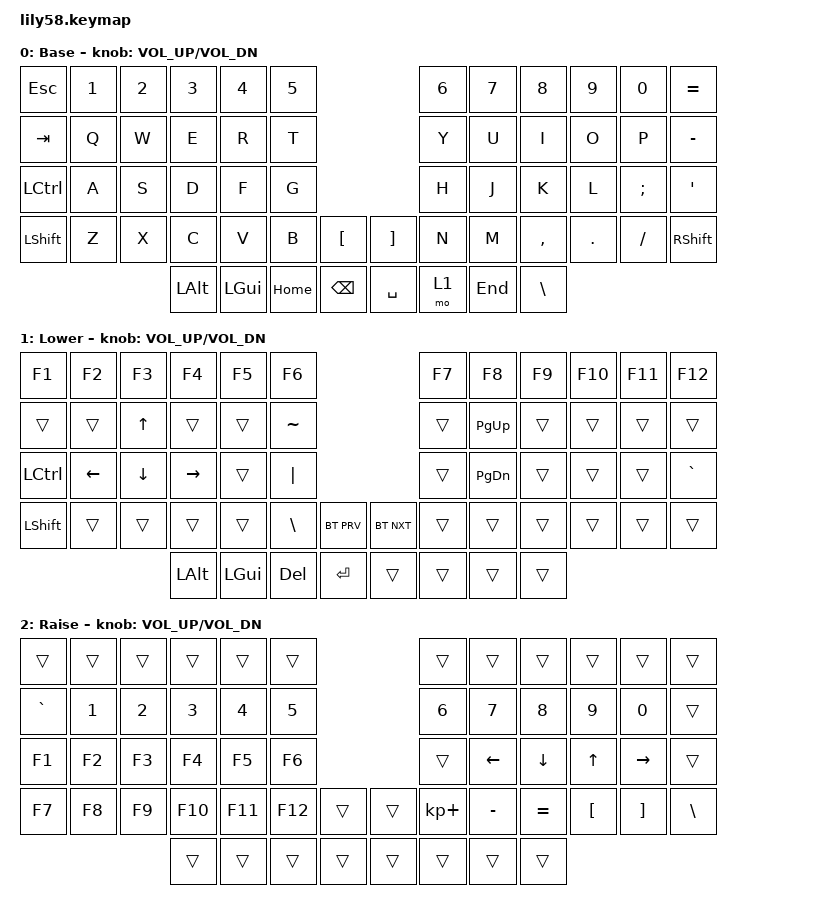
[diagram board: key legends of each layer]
/*
 * Copyright (c) 2020 The ZMK Contributors
 *
 * SPDX-License-Identifier: MIT
 */

#include <behaviors.dtsi>
#include <dt-bindings/zmk/bt.h>
#include <dt-bindings/zmk/keys.h>

/ {
    keymap {
        compatible = "zmk,keymap";

        default_layer {
            // ------------------------------------------------------------------------------------------------------------
            // |  ESC  |  1  |  2  |  3   |  4   |  5   |                   |  6   |  7    |  8    |  9   |   0   |   `   |
            // |  TAB  |  Q  |  W  |  E   |  R   |  T   |                   |  Y   |  U    |  I    |  O   |   P   |   -   |
            // |  CTRL |  A  |  S  |  D   |  F   |  G   |                   |  H   |  J    |  K    |  L   |   ;   |   '   |
            // | SHIFT |  Z  |  X  |  C   |  V   |  B   |   "["  |  |  "]"  |  N   |  M    |  ,    |  .   |   /   | SHIFT |
            //                     | ALT  | GUI  | LOWER|  SPACE |  | ENTER | RAISE| BSPC  | GUI   |

            display-name = "Base";
            bindings = <
&kp ESC    &kp N1  &kp N2  &kp N3    &kp N4    &kp N5                                &kp N6  &kp N7   &kp N8         &kp N9   &kp N0    &kp EQUAL
&kp TAB    &kp Q   &kp W   &kp E     &kp R     &kp T                                 &kp Y   &kp U    &kp I          &kp O    &kp P     &kp MINUS
&kp LCTRL  &kp A   &kp S   &kp D     &kp F     &kp G                                 &kp H   &kp J    &kp K          &kp L    &kp SEMI  &kp SQT
&kp LSHFT  &kp Z   &kp X   &kp C     &kp V     &kp B     &kp LBKT         &kp RBKT   &kp N   &kp M    &kp COMMA      &kp DOT  &kp FSLH  &kp RSHFT
                           &kp LALT  &kp LGUI  &kp HOME  &kp BACKSPACE    &kp SPACE  &mo 1   &kp END  &kp BACKSLASH
            >;

            sensor-bindings = <&inc_dec_kp C_VOL_UP C_VOL_DN>;
        };

        lower_layer {
            // ------------------------------------------------------------------------------------------------------------
            // | BTCLR | BT1 | BT2 |  BT3 |  BT4 |  BT5 |                   |      |       |       |      |       |       |
            // |  F1   |  F2 |  F3 |  F4  |  F5  |  F6  |                   |  F7  |  F8   |  F9   |  F10 |  F11  |  F12  |
            // |   `   |  !  |  @  |  #   |  $   |  %   |                   |  ^   |  &    |  *    |  (   |   )   |   ~   |
            // |       |     |     |      |      |      |        |  |       |      |  _    |  +    |  {   |   }   |  "|"  |
            //                     |      |      |      |        |  |       |      |       |       |

            display-name = "Lower";
            bindings = <
&kp F1            &kp F2    &kp F3    &kp F4        &kp F5        &kp F6                                   &kp F7  &kp F8         &kp F9  &kp F10  &kp F11  &kp F12
&trans            &trans    &kp UP    &trans        &trans        &kp TILDE                                &trans  &kp PAGE_UP    &trans  &trans   &trans   &trans
&kp LEFT_CONTROL  &kp LEFT  &kp DOWN  &kp RIGHT     &trans        &kp PIPE                                 &trans  &kp PAGE_DOWN  &trans  &trans   &trans   &kp GRAVE
&kp LEFT_SHIFT    &trans    &trans    &trans        &trans        &kp BACKSLASH  &bt BT_PRV    &bt BT_NXT  &trans  &trans         &trans  &trans   &trans   &trans
                                      &kp LEFT_ALT  &kp LEFT_GUI  &kp DELETE     &kp ENTER     &trans      &trans  &trans         &trans
            >;

            sensor-bindings = <&inc_dec_kp C_VOL_UP C_VOL_DN>;
        };

        raise_layer {
            // ------------------------------------------------------------------------------------------------------------
            // |       |     |     |      |      |      |                   |      |       |       |      |       |       |
            // |   `   |  1  |  2  |  3   |  4   |  5   |                   |  6   |   7   |   8   |  9   |   0   |       |
            // |   F1  |  F2 |  F3 |  F4  |  F5  |  F6  |                   |      |   <-  |   v   |  ^   |  ->   |       |
            // |   F7  |  F8 |  F9 |  F10 |  F11 |  F12 |        |  |       |  +   |   -   |   =   |  [   |   ]   |   \   |
            //                     |      |      |      |        |  |       |      |       |       |

            display-name = "Raise";
            bindings = <
&trans     &trans  &trans  &trans   &trans   &trans                     &trans       &trans     &trans     &trans    &trans     &trans
&kp GRAVE  &kp N1  &kp N2  &kp N3   &kp N4   &kp N5                     &kp N6       &kp N7     &kp N8     &kp N9    &kp N0     &trans
&kp F1     &kp F2  &kp F3  &kp F4   &kp F5   &kp F6                     &trans       &kp LEFT   &kp DOWN   &kp UP    &kp RIGHT  &trans
&kp F7     &kp F8  &kp F9  &kp F10  &kp F11  &kp F12  &trans    &trans  &kp KP_PLUS  &kp MINUS  &kp EQUAL  &kp LBKT  &kp RBKT   &kp BSLH
                           &trans   &trans   &trans   &trans    &trans  &trans       &trans     &trans
            >;

            sensor-bindings = <&inc_dec_kp C_VOL_UP C_VOL_DN>;
        };

        extra_1 { status = "reserved"; };

        extra_2 { status = "reserved"; };

        extra_3 { status = "reserved"; };
    };
};
